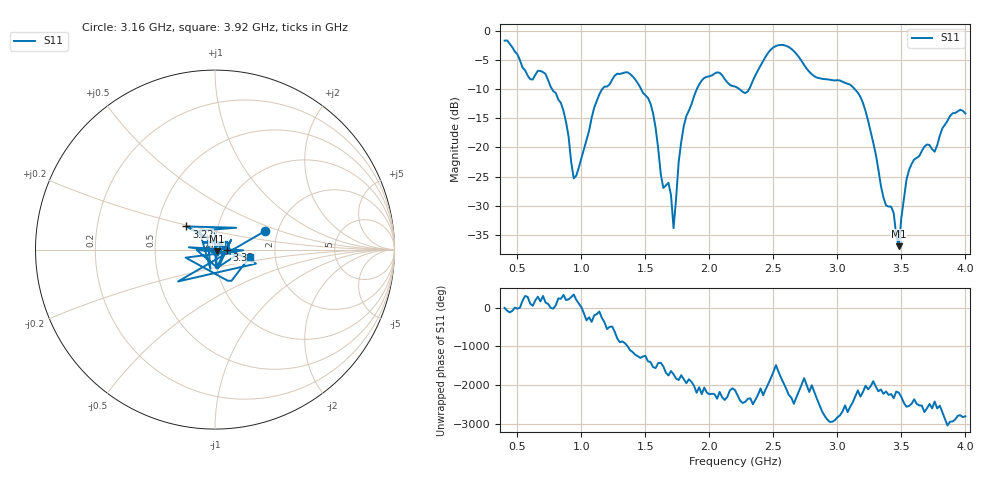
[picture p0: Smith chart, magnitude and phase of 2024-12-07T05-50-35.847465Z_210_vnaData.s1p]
!Created with skrf (http://scikit-rf.org).
# Hz S RI R 50.0
!freq ReS11 ImS11
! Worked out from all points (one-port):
!   181 points, 400 MHz to 4 GHz, reference 50 ohm
!   lowest |S11| = -37.0 dB at 3.48 GHz (marker M1), VSWR 1.03, Z = 51.1 - j0.928 ohm
!   |S11| at or under -10 dB: 771.7 MHz to 1.161 GHz (389.8 MHz wide, 40.3 % of centre); 1.467 GHz to 1.901 GHz (433.7 MHz wide, 25.8 % of centre); 3.137 GHz to end of sweep (the widest 3 of 4)
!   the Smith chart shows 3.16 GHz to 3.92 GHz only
!   S11 on the Smith chart (normalised r, x): 3.16 GHz: 1.71, +0.39; 3.22 GHz: 0.70, +0.19; 3.32 GHz: 1.14, -0.01; 3.92 GHz: 1.47, -0.13
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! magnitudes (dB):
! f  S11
! 400 MHz  -1.6
! 600 MHz  -8.3
! 720 MHz  -7.4
! 860 MHz  -13.7
! 940 MHz  -25.3
! 1.14 GHz  -10.9
! 1.3 GHz  -7.4
! 1.54 GHz  -12.5
! 1.64 GHz  -27.0
! 1.7 GHz  -28.2
! 1.72 GHz  -33.9
! 1.76 GHz  -22.5
! 1.82 GHz  -14.6
! 1.94 GHz  -8.5
! 2.2 GHz  -9.5
! 2.3 GHz  -10.4
! 2.5 GHz  -2.8
! 2.66 GHz  -3.4
! 3.1 GHz  -9.2
! 3.16 GHz  -10.6
! 3.22 GHz  -13.8
! 3.32 GHz  -23.8
! 3.38 GHz  -30.0
! 3.44 GHz  -31.3
! 3.48 GHz  -37.0
! 3.56 GHz  -23.8
! 3.92 GHz  -14.1
! 4 GHz  -14.1
